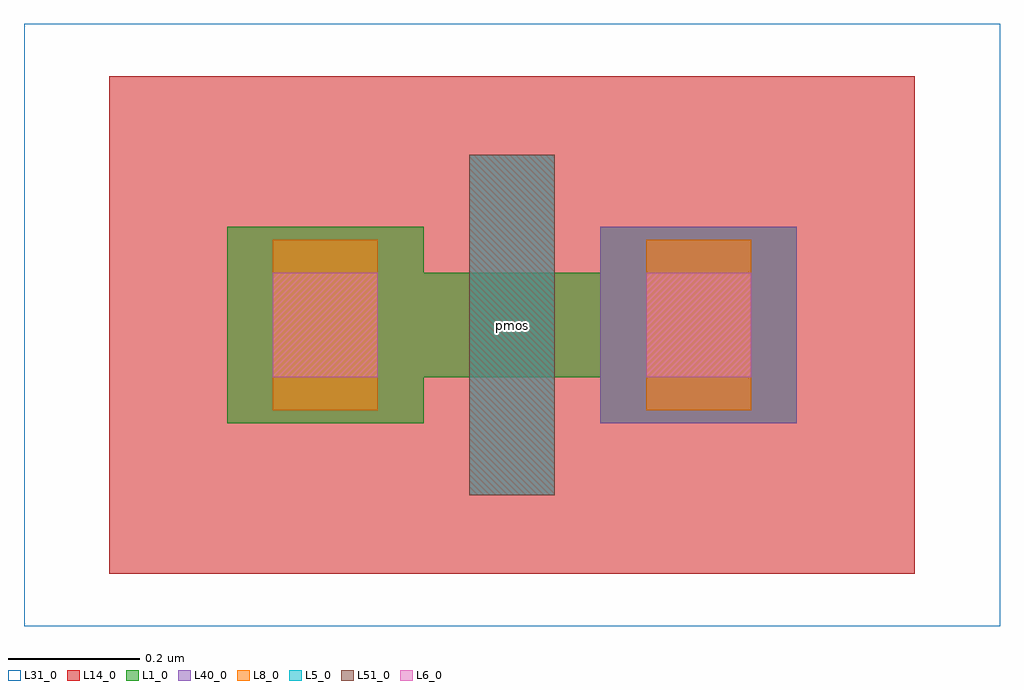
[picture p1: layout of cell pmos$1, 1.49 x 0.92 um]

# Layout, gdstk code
import gdstk
lib = gdstk.Library(unit=1e-6, precision=5e-09)
def R(c, l, rs):  # rectangles x0, y0, x1, y1
    for r in rs: c.add(gdstk.rectangle(r[:2], r[2:], *l))
L1_0 = (1, 0)
L5_0 = (5, 0)
L6_0 = (6, 0)
L8_0 = (8, 0)
L14_0 = (14, 0)
L31_0 = (31, 0)
L40_0 = (40, 0)
L51_0 = (51, 0)

pmos_1 = lib.new_cell('pmos$1')
R(pmos_1, L1_0, [(0,0,0.3,0.3), (0.57,0,0.87,0.3), (0,0.07,0.87,0.23)])
R(pmos_1, L5_0, [(0.37,-0.11,0.5,0.41)])
R(pmos_1, L6_0, [(0.07,0.07,0.23,0.23), (0.64,0.07,0.8,0.23)])
R(pmos_1, L8_0, [(0.07,0.02,0.23,0.28), (0.64,0.02,0.8,0.28)])
R(pmos_1, L14_0, [(-0.18,-0.23,1.05,0.53)])
R(pmos_1, L31_0, [(-0.31,-0.31,1.18,0.61)])
R(pmos_1, L40_0, [(0.57,0,0.87,0.3)])
R(pmos_1, L51_0, [(0.37,-0.11,0.5,0.41)])
pmos_1.add(gdstk.Label('pmos', (0.435,0.15), layer=63, texttype=0))
pmos_1.add(gdstk.Label('pmos', (0.435,0.15), layer=51, texttype=0))

lib.write_gds('pmos_1.gds')
